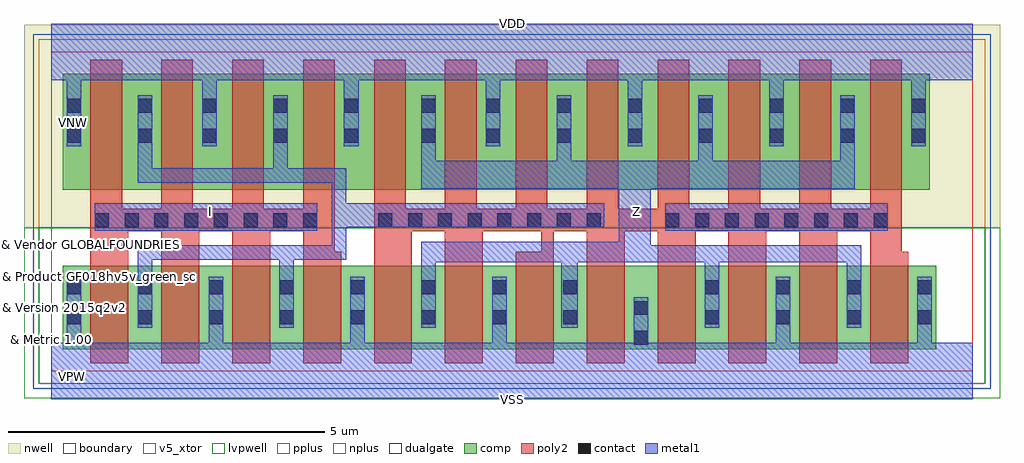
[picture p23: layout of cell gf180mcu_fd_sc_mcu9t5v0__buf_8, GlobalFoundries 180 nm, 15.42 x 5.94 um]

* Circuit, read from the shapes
.subckt gf180mcu_fd_sc_mcu9t5v0__buf_8 I VDD VNW VSS Z
XM1 n1 I VSS VSUBS nfet_05v0 w=1.32u l=0.6u m=4
XM2 Z n1 VSS VSUBS nfet_05v0 w=1.32u l=0.6u m=8
XM3 n1 I VDD VNW pfet_05v0 w=1.83u l=0.5u m=4
XM4 Z n1 VDD VNW pfet_05v0 w=1.83u l=0.5u m=8
.ends

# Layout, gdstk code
import gdstk
lib = gdstk.Library(unit=1e-6, precision=5e-10)
def R(c, l, rs):  # rectangles x0, y0, x1, y1
    for r in rs: c.add(gdstk.rectangle(r[:2], r[2:], *l))
def A(c, l, x, y, w, h, nx, ny, dx, dy):  # array of equal rectangles
    R(c, l, [(x+i*dx, y+j*dy, x+i*dx+w, y+j*dy+h) for i in range(nx) for j in range(ny)])
def P(c, l, *ps):  # polygons
    for p in ps: c.add(gdstk.Polygon(p, *l))
boundary = (0, 0)
nwell = (21, 0)
comp = (22, 0)
poly2 = (30, 0)
pplus = (31, 0)
nplus = (32, 0)
contact = (33, 0)
metal1 = (34, 0)
dualgate = (55, 0)
v5_xtor = (112, 1)
lvpwell = (204, 0)

gf180mcu_fd_sc_mcu9t5v0_ = lib.new_cell('gf180mcu_fd_sc_mcu9t5v0__buf_8')
R(gf180mcu_fd_sc_mcu9t5v0_, boundary, [(0,0,14.56,5.04)])
R(gf180mcu_fd_sc_mcu9t5v0_, nwell, [(-0.43,2.265,14.99,5.47)])
R(gf180mcu_fd_sc_mcu9t5v0_, comp, [(0.18,0.345,13.98,1.665), (0.18,2.865,13.88,4.695)])
P(gf180mcu_fd_sc_mcu9t5v0_, poly2, [(0.62,0.125),(0.62,4.915),(1.12,4.915),(1.12,2.565),(1.74,2.565),(1.74,4.915),(2.24,4.915),(2.24,2.565),(2.86,2.565),(2.86,4.915),(3.36,4.915),(3.36,2.565),(3.98,2.565),(3.98,4.915),(4.48,4.915),(4.48,1.885),(4.58,1.885),(4.58,0.125),(3.98,0.125),(3.98,2.205),(3.46,2.205),(3.46,0.125),(2.86,0.125),(2.86,2.205),(2.34,2.205),(2.34,0.125),(1.74,0.125),(1.74,2.205),(1.22,2.205),(1.22,0.125)],
  [(5.1,0.125),(5.1,4.915),(5.6,4.915),(5.6,2.565),(6.22,2.565),(6.22,4.915),(6.72,4.915),(6.72,2.565),(7.34,2.565),(7.34,4.915),(7.84,4.915),(7.84,2.565),(8.46,2.565),(8.46,4.915),(8.96,4.915),(8.96,2.56),(9.58,2.56),(9.58,4.915),(10.08,4.915),(10.08,2.565),(10.7,2.565),(10.7,4.915),(11.2,4.915),(11.2,2.565),(11.82,2.565),(11.82,4.915),(12.32,4.915),(12.32,2.565),(12.94,2.565),(12.94,4.915),(13.44,4.915),(13.44,1.885),(13.54,1.885),(13.54,0.125),(12.94,0.125),(12.94,2.205),(12.42,2.205),(12.42,0.125),(11.82,0.125),(11.82,2.205),(11.3,2.205),(11.3,0.125),(10.7,0.125),(10.7,2.205),(10.18,2.205),(10.18,0.125),(9.58,0.125),(9.58,2.205),(9.06,2.205),(9.06,0.125),(8.46,0.125),(8.46,2.205),(7.94,2.205),(7.94,0.125),(7.34,0.125),(7.34,1.885),(7.74,1.885),(7.74,2.205),(6.82,2.205),(6.82,0.125),(6.22,0.125),(6.22,2.205),(5.7,2.205),(5.7,0.125)])
R(gf180mcu_fd_sc_mcu9t5v0_, pplus, [(-0.2,2.265,14.76,5.24)])
R(gf180mcu_fd_sc_mcu9t5v0_, nplus, [(-0.2,-0.2,14.76,2.265)])
A(gf180mcu_fd_sc_mcu9t5v0_, contact, 0.25, 0.74, 0.22, 0.22, 8, 2, 1.12, 0.47)
A(gf180mcu_fd_sc_mcu9t5v0_, contact, 10.33, 0.74, 0.22, 0.22, 4, 2, 1.12, 0.47)
A(gf180mcu_fd_sc_mcu9t5v0_, contact, 0.69, 2.275, 0.22, 0.22, 8, 1, 0.47, 0)
A(gf180mcu_fd_sc_mcu9t5v0_, contact, 5.17, 2.275, 0.22, 0.22, 8, 1, 0.47, 0)
A(gf180mcu_fd_sc_mcu9t5v0_, contact, 9.705, 2.275, 0.22, 0.22, 8, 1, 0.47, 0)
A(gf180mcu_fd_sc_mcu9t5v0_, contact, 2.39, 3.61, 0.22, 0.22, 3, 2, 1.12, 0.47)
A(gf180mcu_fd_sc_mcu9t5v0_, contact, 6.87, 3.61, 0.22, 0.22, 7, 2, 1.12, 0.47)
R(gf180mcu_fd_sc_mcu9t5v0_, contact, [(9.21,0.415,9.43,0.635), (9.21,0.885,9.43,1.105), (0.25,3.61,0.47,3.83), (1.37,3.61,1.59,3.83), (5.85,3.61,6.07,3.83), (0.25,4.08,0.47,4.3), (1.37,4.08,1.59,4.3), (5.85,4.08,6.07,4.3)])
R(gf180mcu_fd_sc_mcu9t5v0_, metal1, [(0.685,2.215,4.205,2.65), (9.7,2.215,13.22,2.65)])
P(gf180mcu_fd_sc_mcu9t5v0_, metal1, [(1.365,0.68),(1.365,1.985),(4.435,1.985),(4.435,2.975),(1.365,2.975),(1.365,4.36),(1.595,4.36),(1.595,3.205),(3.505,3.205),(3.505,4.36),(3.735,4.36),(3.735,3.205),(4.665,3.205),(4.665,2.65),(8.74,2.65),(8.74,2.27),(4.665,2.27),(4.665,1.755),(3.835,1.755),(3.835,0.68),(3.605,0.68),(3.605,1.755),(1.595,1.755),(1.595,0.68)],
  [(5.845,0.68),(5.845,2.04),(8.97,2.04),(8.97,2.88),(5.845,2.88),(5.845,4.36),(6.075,4.36),(6.075,3.32),(7.985,3.32),(7.985,4.36),(8.215,4.36),(8.215,3.32),(10.225,3.32),(10.225,4.36),(10.455,4.36),(10.455,3.32),(12.465,3.32),(12.465,4.36),(12.695,4.36),(12.695,2.88),(9.47,2.88),(9.47,1.985),(12.795,1.985),(12.795,0.68),(12.565,0.68),(12.565,1.72),(10.555,1.72),(10.555,0.68),(10.325,0.68),(10.325,1.72),(8.315,1.72),(8.315,0.68),(8.055,0.68),(8.055,1.72),(6.075,1.72),(6.075,0.68)],
  [(0,-0.45),(0,0.45),(0.245,0.45),(0.245,1.49),(0.475,1.49),(0.475,0.45),(2.485,0.45),(2.485,1.49),(2.715,1.49),(2.715,0.45),(4.725,0.45),(4.725,1.49),(4.955,1.49),(4.955,0.45),(6.965,0.45),(6.965,1.49),(7.195,1.49),(7.195,0.45),(9.205,0.45),(9.205,1.165),(9.435,1.165),(9.435,0.45),(11.445,0.45),(11.445,1.49),(11.675,1.49),(11.675,0.45),(13.685,0.45),(13.685,1.49),(13.915,1.49),(13.915,0.45),(14.56,0.45),(14.56,-0.45)],
  [(0.245,3.55),(0.245,4.59),(0,4.59),(0,5.49),(14.56,5.49),(14.56,4.59),(13.815,4.59),(13.815,3.55),(13.585,3.55),(13.585,4.59),(11.575,4.59),(11.575,3.55),(11.345,3.55),(11.345,4.59),(9.335,4.59),(9.335,3.55),(9.105,3.55),(9.105,4.59),(7.095,4.59),(7.095,3.55),(6.865,3.55),(6.865,4.59),(4.855,4.59),(4.855,3.55),(4.625,3.55),(4.625,4.59),(2.615,4.59),(2.615,3.55),(2.385,3.55),(2.385,4.59),(0.475,4.59),(0.475,3.55)])
R(gf180mcu_fd_sc_mcu9t5v0_, dualgate, [(-0.28,-0.28,14.84,5.32)])
R(gf180mcu_fd_sc_mcu9t5v0_, v5_xtor, [(0,0,14.56,5.04)])
R(gf180mcu_fd_sc_mcu9t5v0_, lvpwell, [(-0.43,-0.43,14.99,2.265)])
gf180mcu_fd_sc_mcu9t5v0_.add(gdstk.Label('I', (2.52,2.52), layer=34, texttype=10))
gf180mcu_fd_sc_mcu9t5v0_.add(gdstk.Label('VDD', (7.28,5.49), layer=34, texttype=10))
gf180mcu_fd_sc_mcu9t5v0_.add(gdstk.Label('VSS', (7.28,-0.45), layer=34, texttype=10))
gf180mcu_fd_sc_mcu9t5v0_.add(gdstk.Label('Z', (9.24,2.52), layer=34, texttype=10))
gf180mcu_fd_sc_mcu9t5v0_.add(gdstk.Label('& Vendor GLOBALFOUNDRIES', (0,2), layer=63, texttype=63))
gf180mcu_fd_sc_mcu9t5v0_.add(gdstk.Label('& Product GF018hv5v_green_sc9', (0,1.5), layer=63, texttype=63))
gf180mcu_fd_sc_mcu9t5v0_.add(gdstk.Label('& Version 2015q2v2', (0,1), layer=63, texttype=63))
gf180mcu_fd_sc_mcu9t5v0_.add(gdstk.Label('& Metric 1.00', (0,0.5), layer=63, texttype=63))
gf180mcu_fd_sc_mcu9t5v0_.add(gdstk.Label('VNW', (0.345,3.92), layer=21, texttype=10))
gf180mcu_fd_sc_mcu9t5v0_.add(gdstk.Label('VPW', (0.34,-0.085), layer=204, texttype=10))

lib.write_gds('gf180mcu_fd_sc_mcu9t5v0__buf_8.gds')
